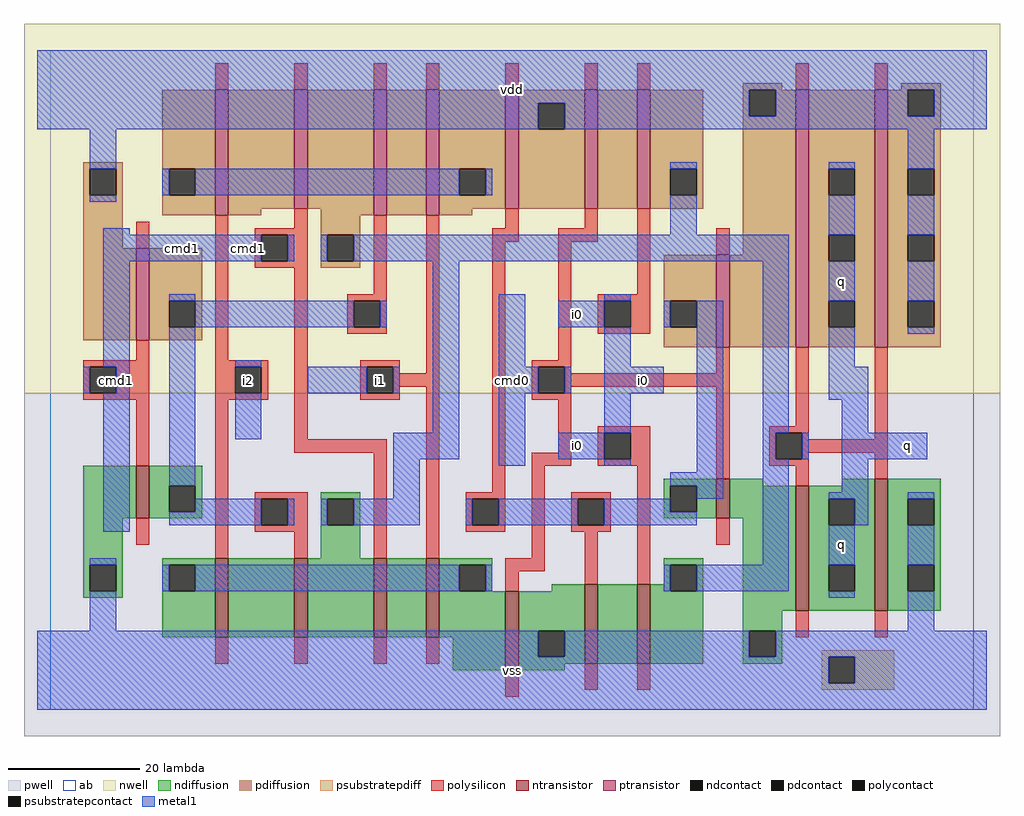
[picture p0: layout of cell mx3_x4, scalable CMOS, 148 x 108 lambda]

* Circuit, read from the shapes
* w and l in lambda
.subckt mx3_x4 cmd0 cmd1 i0 i1 i2 q vdd vss
M1 n1 cmd1 vss vss nfet w=8 l=2
M2 n2 i2 n3 vss nfet w=12 l=2
M3 n4 n1 n2 vss nfet w=12 l=2
M4 n5 cmd1 n4 vss nfet w=12 l=2
M5 n3 i1 n5 vss nfet w=12 l=2
M6 vss cmd0 n3 vss nfet w=12 l=2
M7 n6 n7 vss vss nfet w=12 l=2
M8 n4 i0 n6 vss nfet w=12 l=2
M9 vss cmd0 n7 vss nfet w=6 l=2
M10 q n4 vss vss nfet w=19 l=2
M11 vss n4 q vss nfet w=20 l=2
M12 n1 cmd1 vdd n8 pfet w=14 l=2
M13 n9 i2 n10 n8 pfet w=19 l=2
M14 n4 cmd1 n9 n8 pfet w=18 l=2
M15 n11 n1 n4 n8 pfet w=19 l=2
M16 n10 i1 n11 n8 pfet w=19 l=2
M17 vdd n7 n10 n8 pfet w=18 l=2
M18 n12 cmd0 vdd n8 pfet w=18 l=2
M19 n4 i0 n12 n8 pfet w=18 l=2
M20 vdd cmd0 n7 n8 pfet w=14 l=2
M21 q n4 vdd n8 pfet w=39 l=2 m=2
.ends

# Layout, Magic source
magic
tech scmos
<< ab >>
rect 0 0 140 100
<< pwell >>
rect -4 -4 144 48
<< nwell >>
rect -4 48 144 104
<< polysilicon >>
rect 25 94 27 98
rect 37 94 39 98
rect 49 94 51 98
rect 57 94 59 98
rect 69 94 71 98
rect 81 94 83 98
rect 89 94 91 98
rect 113 94 115 98
rect 125 94 127 98
rect 13 70 15 74
rect 13 53 15 56
rect 5 52 15 53
rect 5 48 6 52
rect 10 48 15 52
rect 5 47 15 48
rect 13 37 15 47
rect 25 53 27 75
rect 37 73 39 76
rect 31 72 39 73
rect 31 68 32 72
rect 36 68 39 72
rect 31 67 39 68
rect 25 52 33 53
rect 25 48 28 52
rect 32 48 33 52
rect 25 47 33 48
rect 13 25 15 29
rect 25 23 27 47
rect 37 41 39 67
rect 49 63 51 75
rect 45 62 51 63
rect 45 58 46 62
rect 50 58 51 62
rect 45 57 51 58
rect 47 52 53 53
rect 47 48 48 52
rect 52 51 53 52
rect 57 51 59 75
rect 69 73 71 76
rect 81 73 83 76
rect 52 49 59 51
rect 52 48 53 49
rect 47 47 53 48
rect 37 39 51 41
rect 31 32 39 33
rect 31 28 32 32
rect 36 28 39 32
rect 31 27 39 28
rect 37 23 39 27
rect 49 23 51 39
rect 57 23 59 49
rect 67 71 71 73
rect 77 71 83 73
rect 67 33 69 71
rect 77 53 79 71
rect 89 63 91 76
rect 101 69 103 73
rect 83 62 91 63
rect 83 58 84 62
rect 88 58 91 62
rect 83 57 91 58
rect 73 52 79 53
rect 73 48 74 52
rect 78 51 79 52
rect 101 51 103 55
rect 78 49 103 51
rect 78 48 79 49
rect 73 47 79 48
rect 77 39 79 47
rect 63 32 69 33
rect 63 28 64 32
rect 68 28 69 32
rect 63 27 69 28
rect 73 37 79 39
rect 83 42 91 43
rect 83 38 84 42
rect 88 38 91 42
rect 83 37 91 38
rect 73 23 75 37
rect 79 32 85 33
rect 79 28 80 32
rect 84 28 85 32
rect 79 27 85 28
rect 69 21 75 23
rect 69 18 71 21
rect 81 19 83 27
rect 89 19 91 37
rect 101 35 103 49
rect 113 43 115 55
rect 109 42 115 43
rect 109 38 110 42
rect 114 41 115 42
rect 125 41 127 55
rect 114 39 127 41
rect 114 38 115 39
rect 109 37 115 38
rect 113 34 115 37
rect 125 35 127 39
rect 101 25 103 29
rect 25 7 27 11
rect 37 7 39 11
rect 49 7 51 11
rect 57 7 59 11
rect 113 11 115 15
rect 125 11 127 15
rect 69 2 71 6
rect 81 3 83 7
rect 89 3 91 7
<< ndiffusion >>
rect 5 29 13 37
rect 15 34 23 37
rect 15 30 18 34
rect 22 30 23 34
rect 15 29 23 30
rect 5 22 11 29
rect 41 32 47 33
rect 41 28 42 32
rect 46 28 47 32
rect 41 23 47 28
rect 5 18 6 22
rect 10 18 11 22
rect 5 17 11 18
rect 17 22 25 23
rect 17 18 18 22
rect 22 18 25 22
rect 17 11 25 18
rect 27 11 37 23
rect 39 11 49 23
rect 51 11 57 23
rect 59 22 67 23
rect 59 18 62 22
rect 66 18 67 22
rect 93 34 101 35
rect 93 30 94 34
rect 98 30 101 34
rect 93 29 101 30
rect 103 34 108 35
rect 120 34 125 35
rect 103 29 113 34
rect 93 22 99 23
rect 93 19 94 22
rect 76 18 81 19
rect 59 11 69 18
rect 61 6 69 11
rect 71 12 81 18
rect 71 8 74 12
rect 78 8 81 12
rect 71 7 81 8
rect 83 7 89 19
rect 91 18 94 19
rect 98 18 99 22
rect 91 7 99 18
rect 105 15 113 29
rect 115 32 125 34
rect 115 28 118 32
rect 122 28 125 32
rect 115 22 125 28
rect 115 18 118 22
rect 122 18 125 22
rect 115 15 125 18
rect 127 32 135 35
rect 127 28 130 32
rect 134 28 135 32
rect 127 22 135 28
rect 127 18 130 22
rect 134 18 135 22
rect 127 15 135 18
rect 105 12 111 15
rect 105 8 106 12
rect 110 8 111 12
rect 105 7 111 8
rect 71 6 78 7
<< pdiffusion >>
rect 105 94 111 95
rect 129 94 135 95
rect 5 82 11 83
rect 5 78 6 82
rect 10 78 11 82
rect 5 70 11 78
rect 17 82 25 94
rect 17 78 18 82
rect 22 78 25 82
rect 17 75 25 78
rect 27 76 37 94
rect 39 76 49 94
rect 27 75 32 76
rect 5 56 13 70
rect 15 62 23 70
rect 15 58 18 62
rect 22 58 23 62
rect 15 56 23 58
rect 41 75 49 76
rect 51 75 57 94
rect 59 82 69 94
rect 59 78 62 82
rect 66 78 69 82
rect 59 76 69 78
rect 71 92 81 94
rect 71 88 74 92
rect 78 88 81 92
rect 71 76 81 88
rect 83 76 89 94
rect 91 82 99 94
rect 91 78 94 82
rect 98 78 99 82
rect 91 76 99 78
rect 105 90 106 94
rect 110 90 113 94
rect 59 75 64 76
rect 41 72 47 75
rect 41 68 42 72
rect 46 68 47 72
rect 41 67 47 68
rect 105 69 113 90
rect 93 62 101 69
rect 93 58 94 62
rect 98 58 101 62
rect 93 55 101 58
rect 103 55 113 69
rect 115 82 125 94
rect 115 78 118 82
rect 122 78 125 82
rect 115 72 125 78
rect 115 68 118 72
rect 122 68 125 72
rect 115 62 125 68
rect 115 58 118 62
rect 122 58 125 62
rect 115 55 125 58
rect 127 90 130 94
rect 134 90 135 94
rect 127 82 135 90
rect 127 78 130 82
rect 134 78 135 82
rect 127 72 135 78
rect 127 68 130 72
rect 134 68 135 72
rect 127 62 135 68
rect 127 58 130 62
rect 134 58 135 62
rect 127 55 135 58
<< metal1 >>
rect -2 94 142 100
rect -2 92 106 94
rect -2 88 74 92
rect 78 90 106 92
rect 110 90 130 94
rect 134 90 142 94
rect 78 88 142 90
rect 6 82 10 88
rect 94 82 98 83
rect 17 78 18 82
rect 22 78 62 82
rect 66 78 67 82
rect 6 77 10 78
rect 8 72 12 73
rect 94 72 98 78
rect 118 82 122 83
rect 118 72 122 78
rect 8 68 32 72
rect 36 68 37 72
rect 41 68 42 72
rect 46 68 112 72
rect 8 52 12 68
rect 5 48 6 52
rect 10 48 12 52
rect 8 27 12 48
rect 18 62 22 63
rect 22 58 46 62
rect 50 58 51 62
rect 18 34 22 58
rect 28 52 32 53
rect 39 48 48 52
rect 52 48 53 52
rect 28 41 32 48
rect 58 42 62 68
rect 52 38 62 42
rect 68 52 72 63
rect 84 62 88 63
rect 77 58 84 62
rect 93 58 94 62
rect 84 52 88 58
rect 68 48 74 52
rect 78 48 79 52
rect 84 48 93 52
rect 52 32 56 38
rect 68 37 72 48
rect 84 42 88 48
rect 77 38 84 42
rect 84 37 88 38
rect 98 36 102 62
rect 94 34 102 36
rect 22 30 32 32
rect 18 28 32 30
rect 36 28 37 32
rect 41 28 42 32
rect 46 28 56 32
rect 63 28 64 32
rect 68 28 80 32
rect 84 30 94 32
rect 98 32 102 34
rect 108 42 112 68
rect 118 62 122 68
rect 118 52 122 58
rect 130 82 134 88
rect 130 72 134 78
rect 130 62 134 68
rect 130 57 134 58
rect 118 47 124 52
rect 120 42 124 47
rect 108 38 110 42
rect 114 38 115 42
rect 120 38 133 42
rect 84 28 98 30
rect 6 22 10 23
rect 108 22 112 38
rect 120 33 124 38
rect 17 18 18 22
rect 22 18 62 22
rect 66 18 67 22
rect 93 18 94 22
rect 98 18 112 22
rect 118 32 124 33
rect 122 28 124 32
rect 130 32 134 33
rect 118 22 122 28
rect 6 12 10 18
rect 118 17 122 18
rect 130 22 134 28
rect 130 12 134 18
rect -2 8 74 12
rect 78 8 106 12
rect 110 8 142 12
rect -2 4 118 8
rect 122 4 142 8
rect -2 0 142 4
<< ntransistor >>
rect 13 29 15 37
rect 25 11 27 23
rect 37 11 39 23
rect 49 11 51 23
rect 57 11 59 23
rect 101 29 103 35
rect 69 6 71 18
rect 81 7 83 19
rect 89 7 91 19
rect 113 15 115 34
rect 125 15 127 35
<< ptransistor >>
rect 25 75 27 94
rect 37 76 39 94
rect 13 56 15 70
rect 49 75 51 94
rect 57 75 59 94
rect 69 76 71 94
rect 81 76 83 94
rect 89 76 91 94
rect 101 55 103 69
rect 113 55 115 94
rect 125 55 127 94
<< polycontact >>
rect 6 48 10 52
rect 32 68 36 72
rect 28 48 32 52
rect 46 58 50 62
rect 48 48 52 52
rect 32 28 36 32
rect 84 58 88 62
rect 74 48 78 52
rect 64 28 68 32
rect 84 38 88 42
rect 80 28 84 32
rect 110 38 114 42
<< ndcontact >>
rect 18 30 22 34
rect 42 28 46 32
rect 6 18 10 22
rect 18 18 22 22
rect 62 18 66 22
rect 94 30 98 34
rect 74 8 78 12
rect 94 18 98 22
rect 118 28 122 32
rect 118 18 122 22
rect 130 28 134 32
rect 130 18 134 22
rect 106 8 110 12
<< pdcontact >>
rect 6 78 10 82
rect 18 78 22 82
rect 18 58 22 62
rect 62 78 66 82
rect 74 88 78 92
rect 94 78 98 82
rect 106 90 110 94
rect 42 68 46 72
rect 94 58 98 62
rect 118 78 122 82
rect 118 68 122 72
rect 118 58 122 62
rect 130 90 134 94
rect 130 78 134 82
rect 130 68 134 72
rect 130 58 134 62
<< psubstratepcontact >>
rect 118 4 122 8
<< psubstratepdiff >>
rect 117 8 128 9
rect 117 4 118 8
rect 122 4 128 8
rect 117 3 128 4
<< labels >>
rlabel metal1 10 50 10 50 6 cmd1
rlabel metal1 20 70 20 70 6 cmd1
rlabel polycontact 30 50 30 50 6 i2
rlabel polycontact 50 50 50 50 6 i1
rlabel metal1 30 70 30 70 6 cmd1
rlabel metal1 70 6 70 6 6 vss
rlabel metal1 80 40 80 40 6 i0
rlabel metal1 70 50 70 50 6 cmd0
rlabel metal1 80 60 80 60 6 i0
rlabel metal1 70 94 70 94 6 vdd
rlabel metal1 90 50 90 50 6 i0
rlabel metal1 120 25 120 25 6 q
rlabel metal1 130 40 130 40 6 q
rlabel metal1 120 65 120 65 6 q
<< end >>
